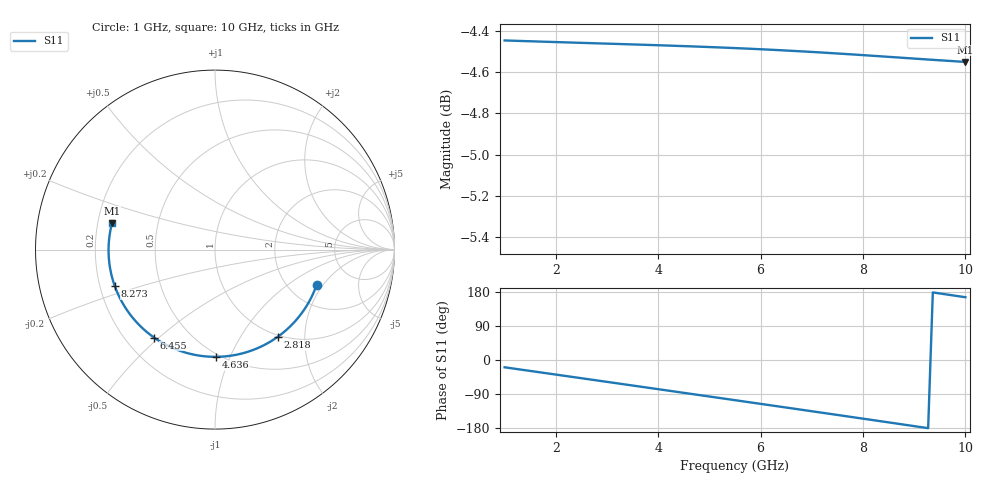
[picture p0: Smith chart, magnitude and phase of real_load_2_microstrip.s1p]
! Created Sun Oct  4 15:48:59 2026
# hz S ma R 50
! Port[1] Term1
! 1 Port Network Data from SP1.SP block
! freq  magS11  angS11
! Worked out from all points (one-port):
!   100 points, 1 GHz to 10 GHz, reference 50 ohm
!   lowest |S11| = -4.5 dB at 10 GHz (marker M1), VSWR 3.91, Z = 13 + j5.87 ohm
!   |S11| at or under -10 dB: nowhere
!   S11 on the Smith chart (normalised r, x): 1 GHz: 2.82, -1.74; 2.818 GHz: 0.98, -1.48; 4.636 GHz: 0.48, -0.89; 6.455 GHz: 0.32, -0.48; 8.273 GHz: 0.26, -0.16; 10 GHz: 0.26, +0.12
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1e9  0.5994 -19.2
1.272727e9  0.5993 -24.5
1.545455e9  0.5991 -29.7
1.818182e9  0.599 -35.0
2.181818e9  0.5988 -42.0
2.545455e9  0.5986 -49.0
2.818182e9  0.5985 -54.2
3.272727e9  0.5982 -63.0
3.636364e9  0.598 -70.0
3.909091e9  0.5979 -75.3
4.181818e9  0.5977 -80.5
4.454545e9  0.5976 -85.8
4.636364e9  0.5975 -89.3
5.090909e9  0.5972 -98.1
5.545455e9  0.5969 -106.9
6e9  0.5965 -115.7
6.454545e9  0.5961 -124.6
6.636364e9  0.5959 -128.1
6.909091e9  0.5957 -133.4
7.272727e9  0.5953 -140.5
7.818182e9  0.5947 -151.2
8.272727e9  0.5942 -160.2
8.636364e9  0.5938 -167.3
8.909091e9  0.5935 -172.7
9.181818e9  0.5932 -178.1
9.454545e9  0.5929 176.5
9.727273e9  0.5926 171.1
1e10  0.5923 165.7
